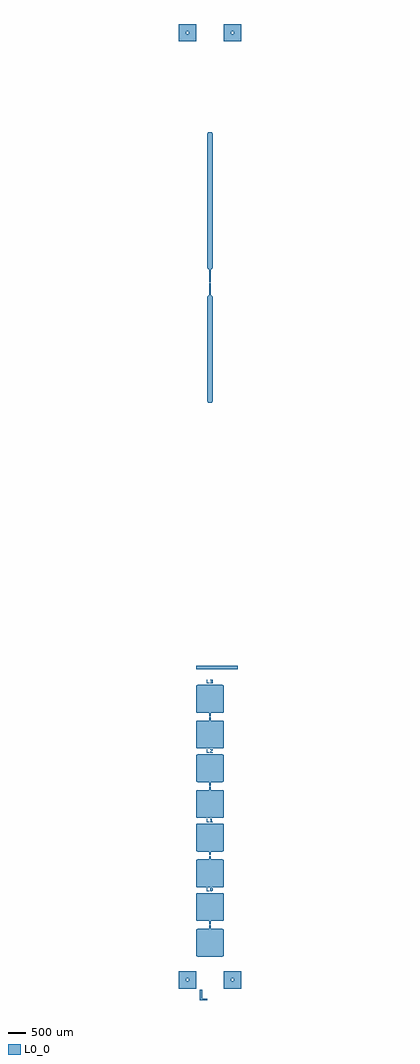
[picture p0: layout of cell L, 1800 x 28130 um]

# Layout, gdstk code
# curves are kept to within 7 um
import gdstk
lib = gdstk.Library(unit=1e-6, precision=1e-09)
def R(c, l, rs):  # rectangles x0, y0, x1, y1
    for r in rs: c.add(gdstk.rectangle(r[:2], r[2:], *l))
def P(c, l, *ps):  # polygons
    for p in ps: c.add(gdstk.Polygon(p, *l))
L0_0 = (0, 0)

c_l = lib.new_cell('L')
R(c_l, L0_0, [(400,9650,1600,9750)])
P(c_l, L0_0, [(500,120),(500,420),(575,420),(575,157.5),(725,157.5),(725,120)],
  [(-100,450),(-100,740),(110,740),(110,660),(190,660),(190,740),(-100,740),(-100,950),(400,950),(400,450)],
  [(1200,450),(1200,740),(1410,740),(1410,660),(1490,660),(1490,740),(1200,740),(1200,950),(1700,950),(1700,450)],
  [(440,1370),(420,1375.359),(400,1410),(405.359,2150),(440,2170),(780,2171.34),(785,2270),(797.5,2270),(792.5,2260),(815,2270),(815,2180),(825,2170),(1180,2164.641),(1200,2130),(1194.641,1390),(1160,1370)],
  [(785,2300),(780,2398.66),(440,2400),(405.359,2420),(405.359,3180),(440,3200),(1180,3194.641),(1200,3160),(1194.641,2420),(1160,2400),(820,2398.66),(815,2300),(802.5,2300),(807.5,2310)],
  [(700,3250),(700,3350),(725,3350),(725,3262.5),(775,3262.5),(775,3250)],
  [(825,3250),(800,3262.5),(800,3337.5),(825,3337.5),(825,3268.75),(836.364,3331.25),(850,3331.25),(837.5,3262.5),(850,3262.5),(850,3331.25),(836.364,3331.25),(837.5,3337.5),(800,3337.5),(825,3350),(850,3350),(875,3337.5),(875,3262.5),(850,3250)],
  [(440,3370),(420,3375.359),(400,3410),(405.359,4150),(440,4170),(780,4171.34),(785,4270),(797.5,4270),(792.5,4260),(815,4270),(815,4180),(825,4170),(1180,4164.641),(1200,4130),(1194.641,3390),(1160,3370)],
  [(785,4300),(780,4398.66),(440,4400),(405.359,4420),(405.359,5180),(440,5200),(1180,5194.641),(1200,5160),(1194.641,4420),(1160,4400),(820,4398.66),(815,4300),(802.5,4300),(807.5,4310)],
  [(700,5250),(700,5350),(725,5350),(725,5262.5),(775,5262.5),(775,5250)],
  [(800,5250),(800,5262.5),(825,5262.5),(825,5325),(800,5325),(800,5337.5),(825,5350),(850,5350),(850,5262.5),(875,5262.5),(875,5250)],
  [(440,5370),(420,5375.359),(400,5410),(405.359,6150),(440,6170),(780,6171.34),(785,6270),(797.5,6270),(792.5,6260),(815,6270),(815,6180),(825,6170),(1180,6164.641),(1200,6130),(1194.641,5390),(1160,5370)],
  [(785,6300),(780,6398.66),(440,6400),(405.359,6420),(405.359,7180),(440,7200),(1180,7194.641),(1200,7160),(1194.641,6420),(1160,6400),(820,6398.66),(815,6300),(802.5,6300),(807.5,6310)],
  [(700,7250),(700,7350),(725,7350),(725,7262.5),(775,7262.5),(775,7250)],
  [(800,7250),(800,7275),(850,7325),(850,7337.5),(800,7337.5),(800,7350),(875,7350),(875,7325),(825,7275),(825,7262.5),(875,7262.5),(875,7250)],
  [(440,7370),(420,7375.359),(400,7410),(405.359,8150),(440,8170),(780,8171.34),(785,8270),(797.5,8270),(792.5,8260),(815,8270),(815,8180),(825,8170),(1180,8164.641),(1200,8130),(1194.641,7390),(1160,7370)],
  [(785,8300),(780,8398.66),(440,8400),(405.359,8420),(405.359,9180),(440,9200),(1180,9194.641),(1200,9160),(1194.641,8420),(1160,8400),(820,8398.66),(815,8300),(802.5,8300),(807.5,8310)],
  [(700,9250),(700,9350),(725,9350),(725,9262.5),(775,9262.5),(775,9250)],
  [(800,9250),(800,9262.5),(850,9262.5),(850,9293.75),(825,9293.75),(825,9306.25),(850,9306.25),(850,9337.5),(800,9337.5),(800,9350),(875,9350),(875,9250)],
  [(765,17330),(745,17335.359),(725,17370),(725,20390),(745,20424.641),(785,20440),(785,20780),(797.5,20780),(792.5,20770),(815,20780),(815,20440),(855,20424.641),(875,20390),(875,17370),(855,17335.359)],
  [(785,20810),(785,21170),(745,21185.359),(725,21220),(725,25090),(745,25124.641),(835,25130),(855,25124.641),(875,25090),(875,21220),(855,21185.359),(815,21170),(815,20810),(802.5,20810),(807.5,20820)],
  [(-100,27750),(-100,28040),(110,28040),(110,27960),(190,27960),(190,28040),(-100,28040),(-100,28250),(400,28250),(400,27750)],
  [(1200,27750),(1200,28040),(1410,28040),(1410,27960),(1490,27960),(1490,28040),(1200,28040),(1200,28250),(1700,28250),(1700,27750)])
c_l.add(gdstk.FlexPath([(775,2390),(775,2390)], 0, ends="flush", simple_path=True, layer=0, datatype=0))  # L0_0
c_l.add(gdstk.FlexPath([(700,3250),(700,3250)], 0, ends="flush", simple_path=True, layer=0, datatype=0))  # L0_0
c_l.add(gdstk.FlexPath([(700,5250),(700,5250)], 0, ends="flush", simple_path=True, layer=0, datatype=0))  # L0_0
c_l.add(gdstk.FlexPath([(800,5250),(800,5250)], 0, ends="flush", simple_path=True, layer=0, datatype=0))  # L0_0
c_l.add(gdstk.FlexPath([(700,7250),(700,7250)], 0, ends="flush", simple_path=True, layer=0, datatype=0))  # L0_0
c_l.add(gdstk.FlexPath([(800,7250),(800,7250)], 0, ends="flush", simple_path=True, layer=0, datatype=0))  # L0_0
c_l.add(gdstk.FlexPath([(700,9250),(700,9250)], 0, ends="flush", simple_path=True, layer=0, datatype=0))  # L0_0
c_l.add(gdstk.FlexPath([(800,9250),(800,9250)], 0, ends="flush", simple_path=True, layer=0, datatype=0))  # L0_0
c_l.add(gdstk.FlexPath([(500,120),(500,120)], 0, ends="flush", simple_path=True, layer=0, datatype=0))  # L0_0

lib.write_gds('L.gds')
